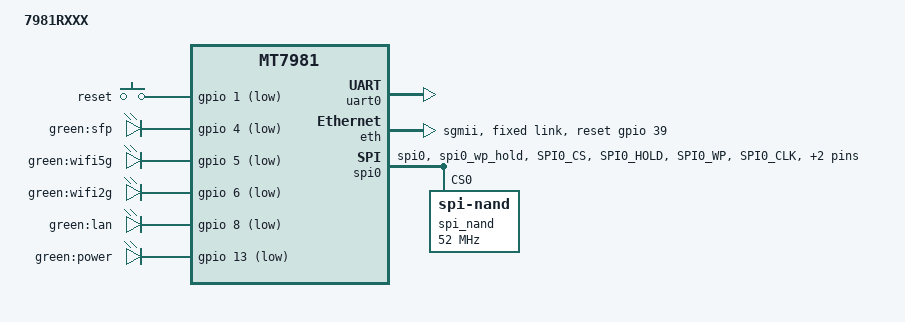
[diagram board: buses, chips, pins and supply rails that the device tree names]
// SPDX-License-Identifier: GPL-2.0
/*
 * Copyright SX-7981R128 Update By nanchuci
 */

/dts-v1/;
#include "mt7981.dtsi"
#include <dt-bindings/gpio/gpio.h>

/ {
	#address-cells = <1>;
	#size-cells = <1>;
	model = "7981RXXX";
	compatible = "mediatek,mt7981-sfp-nand-7981rxxx";

	chosen {
		stdout-path = &uart0;
		tick-timer = &timer0;
	};

	config {
		bootcmd = "mtkboardboot";
		blink_led = "green:power";
		system_led = "green:power";
	};

	mtd-layout {
		layout@0 {
			label = "default";
			// mtd layout for 7981RXXX stock ubi or openwrt-stock/immortalwrt-stock firmware
			mtdids = "nmbm0=nmbm0";
			mtdparts = "nmbm0:1024k(bl2),512k(u-boot-env),2048k(factory),2048k(fip),65536k(ubi)";
		};

		layout@1 {
			label = "immortalwrt-114.5m";
			// mtd layout for immortalwrt/openwrt 114.5M ubi firmware
			mtdids = "nmbm0=nmbm0";
			mtdparts = "nmbm0:1024k(bl2),512k(u-boot-env),2048k(factory),2048k(fip),117248k(ubi)";
		};

		layout@2 {
			label = "qwrt";
			// mtd layout for lean qwrt
			mtdids = "nmbm0=nmbm0";
			mtdparts = "nmbm0:1024k(bl2),512k(u-boot-env),2048k(factory),2048k(fip),1024k(rsv0),110M(ubi)";
		};
	};

	gpio-keys {
		compatible = "gpio-keys";

		reset-button {
			label = "reset";
			gpios = <&gpio 1 GPIO_ACTIVE_LOW>;
		};
	};

	leds {
		compatible = "gpio-leds";

		SFP {
			label = "green:sfp";
			gpios = <&gpio 4 GPIO_ACTIVE_LOW>;
			default-state = "off";
		};

		WIFI5G {
			label = "green:wifi5g";
			gpios = <&gpio 5 GPIO_ACTIVE_LOW>;
			default-state = "off";
		};

		WIFI2G {
			label = "green:wifi2g";
			gpios = <&gpio 6 GPIO_ACTIVE_LOW>;
			default-state = "off";
		};

		LAN {
			label = "green:lan";
			gpios = <&gpio 8 GPIO_ACTIVE_LOW>;
			default-state = "off";
		};

		POWER {
			label = "green:power";
			gpios = <&gpio 13 GPIO_ACTIVE_LOW>;
			default-state = "on";
		};
	};
};

&uart0 {
	status = "okay";
};

&eth {
	status = "okay";
	mediatek,gmac-id = <0>;
	phy-mode = "sgmii";
	mediatek,switch = "mt7531";
	reset-gpios = <&gpio 39 GPIO_ACTIVE_HIGH>;

	fixed-link {
		speed = <1000>;
		full-duplex;
	};
};

&pinctrl {
	spi_flash_pins: spi0-pins-func-1 {
		mux {
			function = "flash";
			groups = "spi0", "spi0_wp_hold";
		};

		conf-pu {
			pins = "SPI0_CS", "SPI0_HOLD", "SPI0_WP";
			drive-strength = <MTK_DRIVE_8mA>;
			bias-pull-up = <MTK_PUPD_SET_R1R0_11>;
		};

		conf-pd {
			pins = "SPI0_CLK", "SPI0_MOSI", "SPI0_MISO";
			drive-strength = <MTK_DRIVE_8mA>;
			bias-pull-down = <MTK_PUPD_SET_R1R0_11>;
		};
	};
};

&spi0 {
	#address-cells = <1>;
	#size-cells = <0>;
	pinctrl-names = "default";
	pinctrl-0 = <&spi_flash_pins>;
	status = "okay";
	must_tx;
	enhance_timing;
	dma_ext;
	ipm_design;
	support_quad;
	tick_dly = <2>;
	sample_sel = <0>;

	spi_nand@0 {
		compatible = "spi-nand";
		reg = <0>;
		spi-max-frequency = <52000000>;
	};
};

&watchdog {
	status = "disabled";
};
